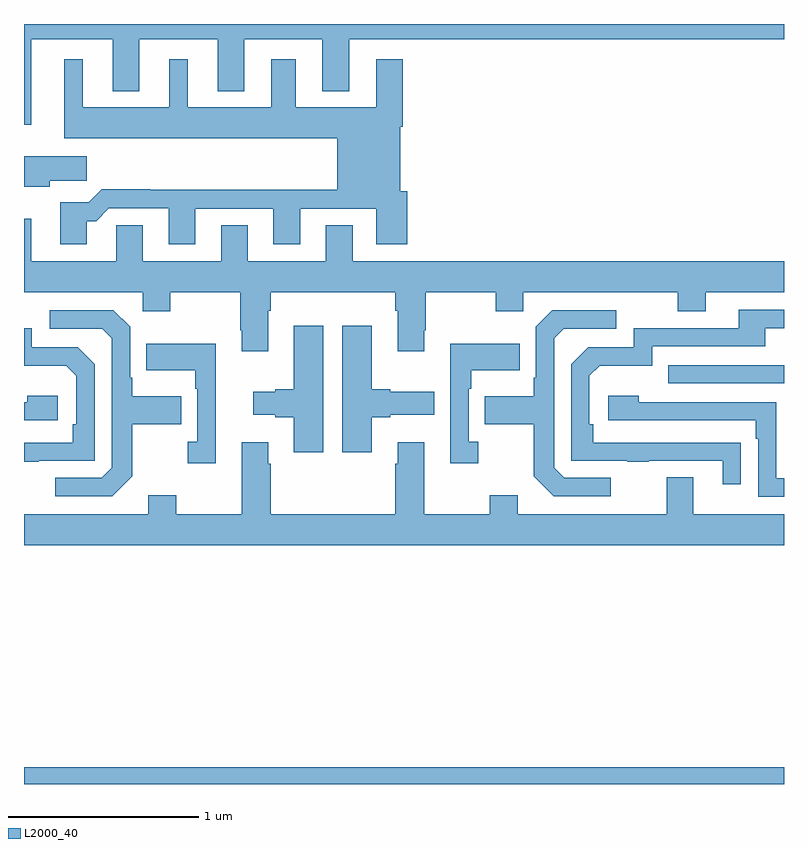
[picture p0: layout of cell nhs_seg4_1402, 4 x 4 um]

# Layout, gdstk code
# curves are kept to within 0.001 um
import gdstk
lib = gdstk.Library(unit=1e-6, precision=1e-09)
def R(c, l, rs):  # rectangles x0, y0, x1, y1
    for r in rs: c.add(gdstk.rectangle(r[:2], r[2:], *l))
def P(c, l, *ps):  # polygons
    for p in ps: c.add(gdstk.Polygon(p, *l))
L2000_40 = (2000, 40)

nhs_seg4_1402 = lib.new_cell('nhs_seg4_1402')
R(nhs_seg4_1402, L2000_40, [(183,792.9,187,792.988), (186.391,795.009,187,795.105)])
P(nhs_seg4_1402, L2000_40, [(183,796.371),(183.037,796.371),(183.037,796.82),(183.467,796.82),(183.467,796.547),(183.607,796.547),(183.607,796.82),(184.019,796.82),(184.019,796.547),(184.159,796.547),(184.159,796.82),(184.571,796.82),(184.571,796.547),(184.711,796.547),(184.711,796.82),(187,796.82),(187,796.9),(183,796.9)],
  [(183.331,795.863),(183.38,795.863),(183.447,795.93),(183.761,795.93),(183.761,795.741),(183.901,795.741),(183.901,795.927),(184.313,795.927),(184.313,795.741),(184.453,795.741),(184.453,795.927),(184.853,795.927),(184.853,795.741),(185.018,795.741),(185.018,796.02),(184.981,796.02),(184.981,796.358),(184.994,796.358),(184.994,796.714),(184.853,796.714),(184.853,796.462),(184.429,796.462),(184.429,796.714),(184.301,796.714),(184.301,796.462),(183.862,796.462),(183.862,796.714),(183.764,796.714),(183.764,796.462),(183.31,796.462),(183.31,796.714),(183.212,796.714),(183.212,796.298),(184.649,796.298),(184.649,796.028),(183.665,796.028),(183.665,796.031),(183.41,796.031),(183.34,795.961),(183.191,795.961),(183.191,795.741),(183.331,795.741)],
  [(183.136,796.075),(183.331,796.075),(183.331,796.204),(183,796.204),(183,796.043),(183.136,796.043)],
  [(184.285,795.392),(184.298,795.392),(184.298,795.488),(184.955,795.488),(184.955,795.392),(184.967,795.392),(184.967,795.177),(185.107,795.177),(185.107,795.289),(185.115,795.289),(185.115,795.488),(185.482,795.488),(185.482,795.389),(185.628,795.389),(185.628,795.488),(186.442,795.488),(186.442,795.389),(186.589,795.389),(186.589,795.488),(187,795.488),(187,795.652),(184.729,795.652),(184.729,795.842),(184.589,795.842),(184.589,795.652),(184.177,795.652),(184.177,795.842),(184.037,795.842),(184.037,795.652),(183.625,795.652),(183.625,795.842),(183.486,795.842),(183.486,795.652),(183.037,795.652),(183.037,795.874),(183,795.874),(183,795.488),(183.624,795.488),(183.624,795.389),(183.771,795.389),(183.771,795.488),(184.138,795.488),(184.138,795.289),(184.145,795.289),(184.145,795.177),(184.285,795.177)],
  [(186.773,794.696),(185.996,794.697),(185.996,794.794),(185.976,794.794),(185.976,795.048),(186.029,795.101),(186.306,795.101),(186.306,795.204),(186.901,795.204),(186.901,795.3),(187,795.3),(187,795.396),(186.761,795.396),(186.761,795.3),(186.21,795.3),(186.21,795.198),(185.97,795.198),(185.88,795.108),(185.88,794.601),(186.175,794.601),(186.175,794.596),(186.287,794.596),(186.287,794.601),(186.677,794.601),(186.677,794.478),(186.773,794.478)],
  [(183.571,794.521),(183.571,794.794),(183.827,794.794),(183.827,794.941),(183.571,794.941),(183.571,795.037),(183.558,795.037),(183.558,795.306),(183.471,795.393),(183.135,795.393),(183.135,795.297),(183.411,795.297),(183.462,795.246),(183.462,794.565),(183.408,794.511),(183.165,794.511),(183.165,794.415),(183.465,794.415)],
  [(186.088,794.511),(185.844,794.511),(185.79,794.565),(185.79,795.246),(185.841,795.297),(186.118,795.297),(186.118,795.393),(185.781,795.393),(185.694,795.306),(185.694,795.037),(185.682,795.037),(185.682,794.941),(185.425,794.941),(185.425,794.794),(185.682,794.794),(185.682,794.521),(185.787,794.415),(186.088,794.415)],
  [(184.831,794.831),(184.927,794.831),(184.927,794.843),(185.158,794.843),(185.158,794.965),(184.927,794.965),(184.927,794.978),(184.831,794.978),(184.831,795.313),(184.676,795.313),(184.676,794.646),(184.831,794.646)],
  [(184.576,795.313),(184.421,795.313),(184.421,794.978),(184.322,794.978),(184.322,794.965),(184.206,794.965),(184.206,794.843),(184.322,794.843),(184.322,794.831),(184.421,794.831),(184.421,794.646),(184.576,794.646)],
  [(183.077,794.601),(183.372,794.601),(183.372,795.108),(183.282,795.198),(183.042,795.198),(183.042,795.3),(183,795.3),(183,795.101),(183.223,795.101),(183.276,795.048),(183.276,794.794),(183.256,794.794),(183.256,794.697),(183,794.697),(183,794.596),(183.077,794.596)],
  [(185.392,794.702),(185.34,794.702),(185.34,794.981),(185.353,794.981),(185.353,795.077),(185.609,795.077),(185.609,795.217),(185.244,795.217),(185.244,794.589),(185.392,794.589)],
  [(184.01,795.217),(183.643,795.217),(183.643,795.077),(183.9,795.077),(183.9,794.981),(183.912,794.981),(183.912,794.702),(183.861,794.702),(183.861,794.589),(184.01,794.589)],
  [(187,794.508),(186.96,794.508),(186.96,794.91),(186.236,794.91),(186.236,794.944),(186.075,794.944),(186.075,794.814),(186.851,794.814),(186.851,794.717),(186.864,794.717),(186.864,794.412),(187,794.412)],
  [(183.178,794.944),(183.017,794.944),(183.017,794.91),(183,794.91),(183,794.814),(183.178,794.814)],
  [(187,794.32),(186.523,794.32),(186.523,794.515),(186.383,794.515),(186.383,794.32),(185.599,794.32),(185.599,794.419),(185.452,794.419),(185.452,794.32),(185.107,794.32),(185.107,794.698),(184.967,794.698),(184.967,794.585),(184.955,794.585),(184.955,794.32),(184.298,794.32),(184.298,794.585),(184.285,794.585),(184.285,794.698),(184.145,794.698),(184.145,794.32),(183.801,794.32),(183.801,794.419),(183.653,794.419),(183.653,794.32),(183,794.32),(183,794.156),(187,794.156)])

lib.write_gds('nhs_seg4_1402.gds')
